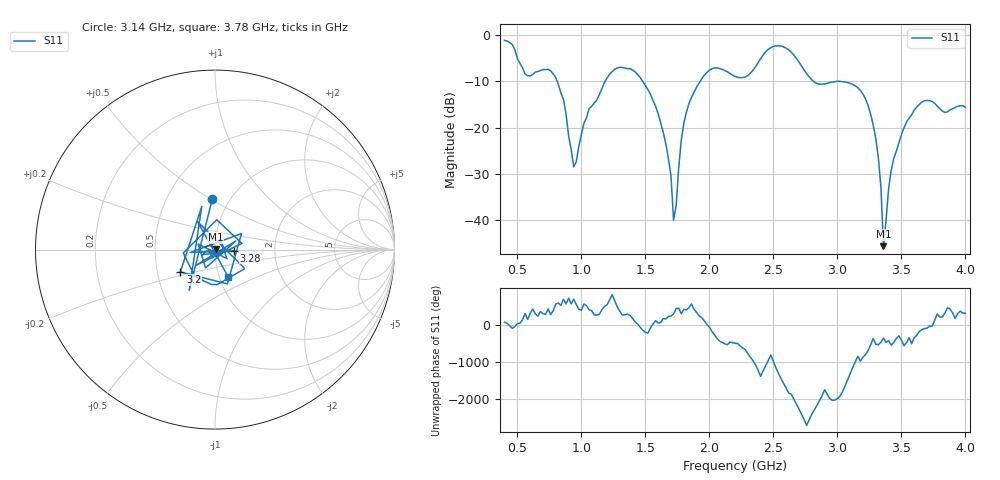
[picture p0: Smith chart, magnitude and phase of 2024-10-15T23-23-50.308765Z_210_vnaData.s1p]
! Created with skrf (http://scikit-rf.org).
# Hz S RI R 50.0
!freq ReS11 ImS11
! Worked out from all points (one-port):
!   181 points, 400 MHz to 4 GHz, reference 50 ohm
!   lowest |S11| = -45.6 dB at 3.36 GHz (marker M1), VSWR 1.01, Z = 50.5 + j0.0687 ohm
!   |S11| at or under -10 dB: 810.2 MHz to 1.186 GHz (375.6 MHz wide, 37.6 % of centre); 1.479 GHz to 1.928 GHz (449.3 MHz wide, 26.4 % of centre); 2.812 GHz to end of sweep
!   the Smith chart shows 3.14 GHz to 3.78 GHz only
!   S11 on the Smith chart (normalised r, x): 3.14 GHz: 0.83, +0.51; 3.2 GHz: 0.66, -0.17; 3.28 GHz: 1.24, -0.01; 3.78 GHz: 1.10, -0.35
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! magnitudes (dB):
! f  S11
! 400 MHz  -1.2
! 580 MHz  -8.8
! 760 MHz  -7.7
! 860 MHz  -14.0
! 940 MHz  -28.5
! 1.06 GHz  -15.9
! 1.3 GHz  -7.0
! 1.58 GHz  -15.4
! 1.68 GHz  -26.8
! 1.7 GHz  -30.4
! 1.72 GHz  -40.0
! 1.76 GHz  -28.7
! 1.82 GHz  -16.7
! 1.92 GHz  -10.4
! 2.2 GHz  -9.0
! 2.5 GHz  -2.5
! 2.66 GHz  -4.4
! 2.84 GHz  -10.5
! 3.1 GHz  -10.5
! 3.14 GHz  -11.0
! 3.2 GHz  -12.8
! 3.28 GHz  -19.5
! 3.34 GHz  -32.9
! 3.36 GHz  -45.6
! 3.42 GHz  -29.3
! 3.56 GHz  -18.0
! 3.78 GHz  -15.3
! 4 GHz  -15.6
